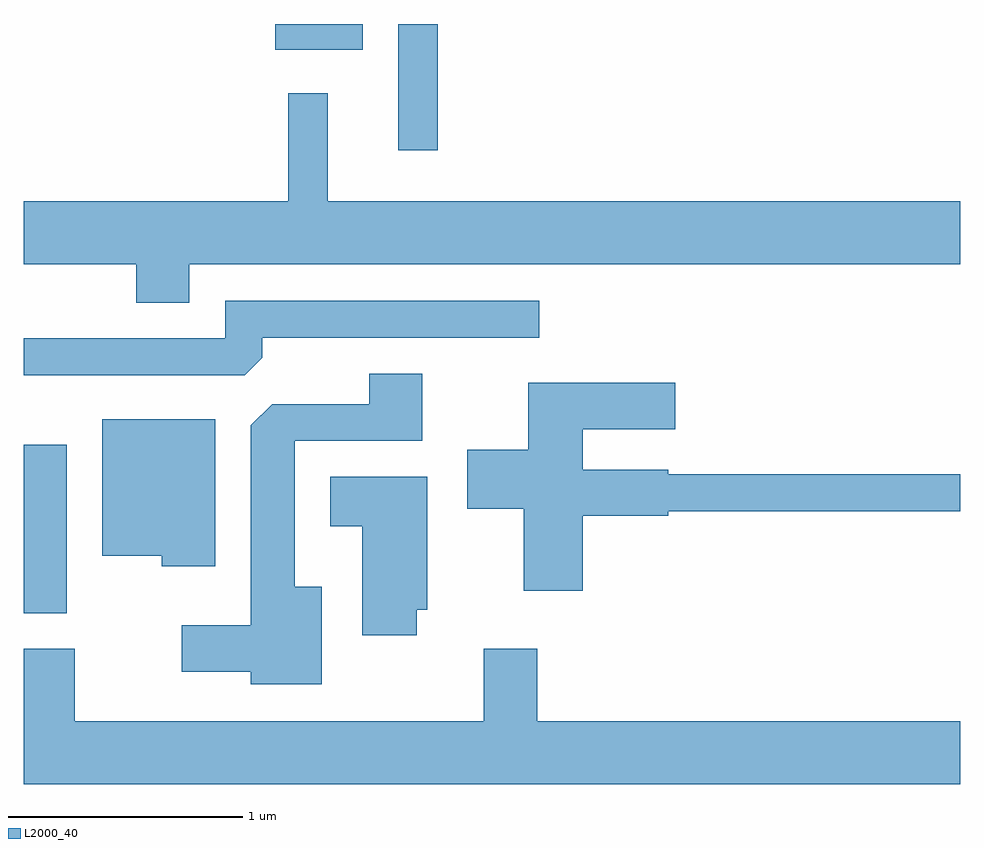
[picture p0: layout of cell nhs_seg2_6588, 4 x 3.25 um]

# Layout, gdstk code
import gdstk
lib = gdstk.Library(unit=1e-6, precision=1e-09)
def R(c, l, rs):  # rectangles x0, y0, x1, y1
    for r in rs: c.add(gdstk.rectangle(r[:2], r[2:], *l))
def P(c, l, *ps):  # polygons
    for p in ps: c.add(gdstk.Polygon(p, *l))
L2000_40 = (2000, 40)

nhs_seg2_6588 = lib.new_cell('nhs_seg2_6588')
R(nhs_seg2_6588, L2000_40, [(379.611,1031.286,379.794,1032.004), (381.211,1033.263,381.379,1033.802), (380.686,1033.691,381.059,1033.802)])
P(nhs_seg2_6588, L2000_40, [(380.319,1032.776),(383.611,1032.776),(383.611,1033.044),(380.909,1033.044),(380.909,1033.507),(380.741,1033.507),(380.741,1033.044),(379.611,1033.044),(379.611,1032.776),(380.091,1032.776),(380.091,1032.611),(380.319,1032.611)],
  [(380.629,1032.377),(380.629,1032.461),(381.813,1032.461),(381.813,1032.619),(380.471,1032.619),(380.471,1032.459),(379.611,1032.459),(379.611,1032.301),(380.554,1032.301)],
  [(380.884,1031.399),(380.769,1031.399),(380.769,1032.021),(381.314,1032.021),(381.314,1032.309),(381.086,1032.309),(381.086,1032.179),(380.672,1032.179),(380.581,1032.089),(380.581,1031.234),(380.286,1031.234),(380.286,1031.036),(380.581,1031.036),(380.581,1030.981),(380.884,1030.981)],
  [(381.999,1031.701),(382.364,1031.701),(382.364,1031.721),(383.611,1031.721),(383.611,1031.879),(382.364,1031.879),(382.364,1031.899),(381.999,1031.899),(381.999,1032.071),(382.394,1032.071),(382.394,1032.269),(381.766,1032.269),(381.766,1031.984),(381.506,1031.984),(381.506,1031.731),(381.746,1031.731),(381.746,1031.381),(381.999,1031.381)],
  [(380.429,1032.114),(379.946,1032.114),(379.946,1031.531),(380.201,1031.531),(380.201,1031.486),(380.429,1031.486)],
  [(381.289,1031.301),(381.334,1031.301),(381.334,1031.869),(380.921,1031.869),(380.921,1031.656),(381.056,1031.656),(381.056,1031.191),(381.289,1031.191)],
  [(383.611,1030.824),(381.804,1030.824),(381.804,1031.134),(381.576,1031.134),(381.576,1030.824),(379.829,1030.824),(379.829,1031.134),(379.611,1031.134),(379.611,1030.556),(383.611,1030.556)])

lib.write_gds('nhs_seg2_6588.gds')
